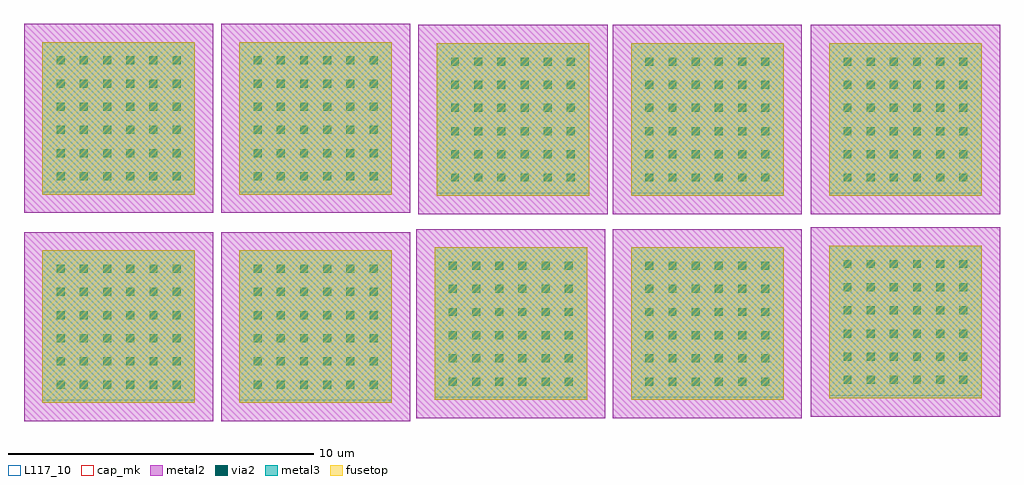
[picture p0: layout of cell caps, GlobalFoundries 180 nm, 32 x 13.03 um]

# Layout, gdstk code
import gdstk
lib = gdstk.Library(unit=1e-6, precision=1e-09)
def R(c, l, rs):  # rectangles x0, y0, x1, y1
    for r in rs: c.add(gdstk.rectangle(r[:2], r[2:], *l))
def A(c, l, x, y, w, h, nx, ny, dx, dy):  # array of equal rectangles
    R(c, l, [(x+i*dx, y+j*dy, x+i*dx+w, y+j*dy+h) for i in range(nx) for j in range(ny)])
metal2 = (36, 0)
via2 = (38, 0)
metal3 = (42, 0)
fusetop = (75, 0)
cap_mk = (117, 5)
L117_10 = (117, 10)

cap_mim = lib.new_cell('cap_mim')
R(cap_mim, metal2, [(-0.6,-0.6,5.6,5.6)])
A(cap_mim, via2, 0.47, 0.47, 0.26, 0.26, 6, 6, 0.76, 0.76)
R(cap_mim, metal3, [(0,0,5,5)])
R(cap_mim, fusetop, [(0,0,5,5)])
R(cap_mim, cap_mk, [(-0.6,-0.6,5.6,5.6)])
R(cap_mim, L117_10, [(0,0,5,0.1)])

caps = lib.new_cell('caps')
caps.add(gdstk.Reference(cap_mim, (25.59,-0.125)))
caps.add(gdstk.Reference(cap_mim, (19.095,-0.125)))
caps.add(gdstk.Reference(cap_mim, (-0.205,-0.085)))
caps.add(gdstk.Reference(cap_mim, (25.59,-6.76)))
caps.add(gdstk.Reference(cap_mim, (19.095,-6.815)))
caps.add(gdstk.Reference(cap_mim, (6.255,-6.915)))
caps.add(gdstk.Reference(cap_mim, (-0.2,-6.915)))
caps.add(gdstk.Reference(cap_mim, (-0.2,-0.085)))
caps.add(gdstk.Reference(cap_mim, (12.725,-0.125)))
caps.add(gdstk.Reference(cap_mim, (6.255,-0.085)))
caps.add(gdstk.Reference(cap_mim, (12.655,-6.815)))

lib.write_gds('caps.gds')
